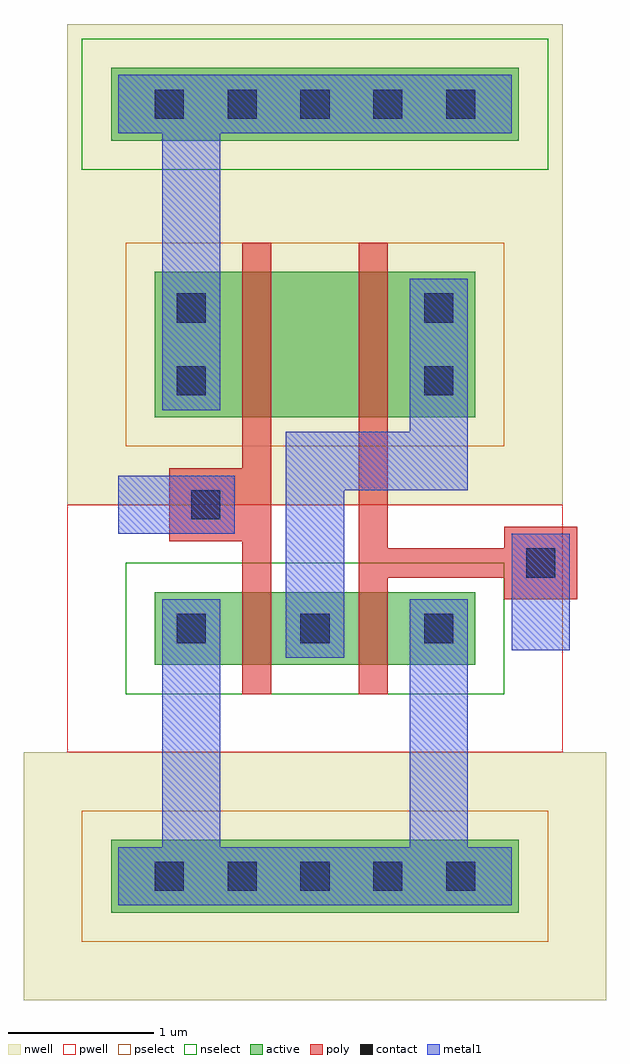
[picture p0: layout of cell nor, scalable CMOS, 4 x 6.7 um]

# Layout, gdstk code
import gdstk
lib = gdstk.Library(unit=1e-6, precision=1e-09)
def R(c, l, rs):  # rectangles x0, y0, x1, y1
    for r in rs: c.add(gdstk.rectangle(r[:2], r[2:], *l))
def A(c, l, x, y, w, h, nx, ny, dx, dy):  # array of equal rectangles
    R(c, l, [(x+i*dx, y+j*dy, x+i*dx+w, y+j*dy+h) for i in range(nx) for j in range(ny)])
contact = (25, 0)
pwell = (41, 0)
nwell = (42, 0)
active = (43, 0)
pselect = (44, 0)
nselect = (45, 0)
poly = (46, 0)
metal1 = (49, 0)

nor = lib.new_cell('nor')
A(nor, contact, -1.1, -2.75, 0.2, 0.2, 5, 2, 0.5, 5.3)
A(nor, contact, -0.95, -1.05, 0.2, 0.2, 3, 1, 0.85, 0)
R(nor, contact, [(1.45,-0.6,1.65,-0.4), (-0.85,-0.2,-0.65,0), (-0.95,0.65,-0.75,0.85), (0.75,0.65,0.95,0.85), (-0.95,1.15,-0.75,1.35), (0.75,1.15,0.95,1.35)])
A(nor, pwell, -1.7, -1.8, 1.7, 1.7, 3, 1, 0.85, 0)
R(nor, pwell, [(-1.4,-1.8,0.6,-0.1), (-0.6,-1.8,1.4,-0.1), (-1.65,-1.7,-0.025,-0.2), (-0.775,-1.7,0.75,-0.2), (-0.75,-1.7,0.775,-0.2), (0.025,-1.7,1.65,-0.2)])
R(nor, nwell, [(-2,-3.5,2,-1.8), (-1.7,-0.1,0,2.1), (-1.4,-0.1,0.6,2.1), (-0.6,-0.1,1.4,2.1), (0,-0.1,1.7,2.1), (-1.65,0.25,-0.025,1.75), (0.025,0.25,1.6,1.75), (-0.775,0.3,0.775,1.8), (-1.7,2.1,1.7,3.2)])
A(nor, active, -1.1, -1.2, 0.5, 0.5, 3, 1, 0.85, 0)
R(nor, active, [(-1.4,-2.9,1.4,-2.4), (-0.8,-1.2,0,-0.7), (0,-1.2,0.8,-0.7), (-1.05,-1.1,-0.625,-0.8), (-0.175,-1.1,0.15,-0.8), (-0.15,-1.1,0.175,-0.8), (0.625,-1.1,1.05,-0.8), (-1.1,0.5,-0.6,1.5), (-0.8,0.5,0,1.5), (0,0.5,0.8,1.5), (0.6,0.5,1.1,1.5), (-1.05,0.85,-0.625,1.15), (0.625,0.85,1,1.15), (-0.175,0.9,0.175,1.2), (-1.4,2.4,1.4,2.9)])
R(nor, pselect, [(-1.6,-3.1,1.6,-2.2), (-1.3,0.3,-0.4,1.7), (-1,0.3,0.2,1.7), (-0.2,0.3,1,1.7), (0.4,0.3,1.3,1.7), (-1.25,0.65,-0.425,1.35), (0.425,0.65,1.2,1.35), (-0.375,0.7,0.375,1.4)])
A(nor, nselect, -1.3, -1.4, 0.9, 0.9, 3, 1, 0.85, 0)
R(nor, nselect, [(-1,-1.4,0.2,-0.5), (-0.2,-1.4,1,-0.5), (-1.25,-1.3,-0.425,-0.6), (-0.375,-1.3,0.35,-0.6), (-0.35,-1.3,0.375,-0.6), (0.425,-1.3,1.25,-0.6), (-1.6,2.2,1.6,3.1)])
R(nor, poly, [(-0.5,-1.4,-0.3,-0.5), (0.3,-1.4,0.5,-0.5), (1.3,-0.75,1.8,-0.25), (-0.5,-0.6,-0.3,0), (0.3,-0.6,0.5,0.4), (0.3,-0.6,0.5,-0.4), (0.3,-0.6,1.65,-0.4), (-1,-0.35,-0.5,0.15), (-0.9,-0.2,-0.3,0), (-0.5,-0.2,-0.3,0.4), (-0.5,0.3,-0.3,1.7), (0.3,0.3,0.5,1.7)])
A(nor, metal1, -1.05, -1.15, 0.4, 0.4, 3, 1, 0.85, 0)
R(nor, metal1, [(-1.35,-2.85,1.35,-2.45), (-1.05,-2.85,-0.65,-0.75), (-0.25,-2.85,1.3,-2.45), (0.65,-2.85,1.05,-0.75), (0.9,-2.85,1.3,-2.45), (-0.2,-1.15,0.2,0.4), (1.35,-1.1,1.75,-0.3), (1.35,-0.7,1.75,-0.3), (-1.35,-0.3,-0.55,0.1), (-0.95,-0.3,-0.55,0.1), (-0.2,0,1.05,0.4), (0.65,0,1.05,1.2), (-1.05,0.55,-0.65,1.45), (0.65,0.55,1.05,1.45), (-1.05,0.8,-0.65,2.85), (-1.35,2.45,1.35,2.85)])

lib.write_gds('nor.gds')
